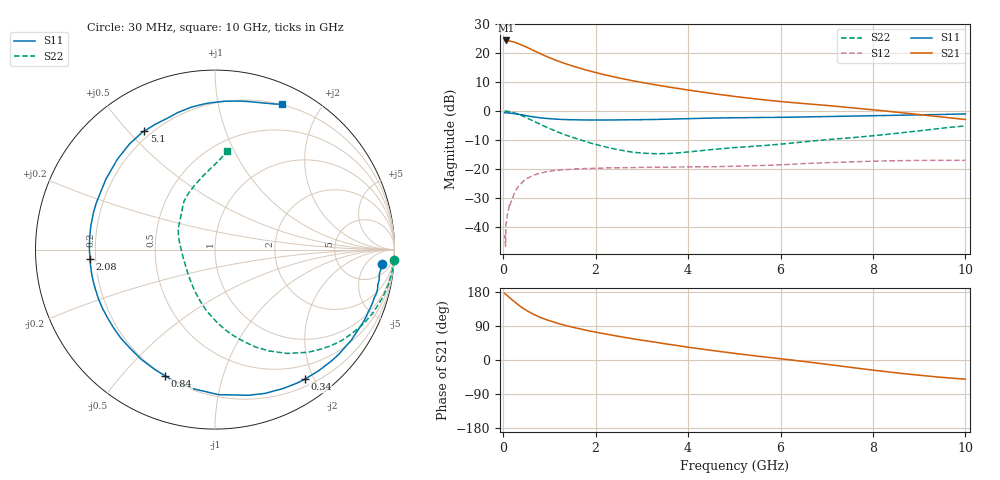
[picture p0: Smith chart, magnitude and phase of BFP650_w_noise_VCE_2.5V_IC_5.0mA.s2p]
! Infineon Technologies  Discrete & RF Semiconductors
! BFP650
! VCE =  2.5 V,  IC =  5.0 mA
! Common Emitter S-Parameters:  Jan 2016
# GHz  S  MA  R  50
!  f  S11  S21  S12  S22
! GHz  MAG  ANG  MAG  ANG  MAG  ANG  MAG  ANG
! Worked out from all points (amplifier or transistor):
!   229 points, 30 MHz to 10 GHz, reference 50 ohm
!   highest |S21| = 24.4 dB at 60 MHz (marker M1)
!   |S21| within 3 dB of that: start of sweep to 594.3 MHz
!   unconditionally stable (mu >= 1): 4.147 GHz to end of sweep
!   at 280 MHz: K = 0.06, MSG = 25.4 dB, |S12| = -27.2 dB
!   at 1.78 GHz: K = 0.50, MSG = 17.1 dB, |S12| = -19.9 dB
!   at 10 GHz: K = 1.09, MAG = 5.2 dB, |S12| = -17.1 dB
!   lowest NFmin = 0.58 dB at 450 MHz
!   S11 on the Smith chart (normalised r, x): 30 MHz: 11, -14; 340 MHz: 0.30, -1.87; 840 MHz: 0.20, -0.66; 2.08 GHz: 0.18, -0.04; 5.1 GHz: 0.17, +0.56; 10 GHz: 0.20, +1.55
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0.03  0.9351 -4.9  16.48 176.2  0.0064 91.4  0.998 -3.3
0.05  0.9253 -8.5  16.5 173.6  0.0046 80.1  0.9898 -5.6
0.06  0.9304 -10.3  16.62 173.1  0.0112 87.3  0.9963 -6.5
0.11  0.9265 -18.8  16.46 167.5  0.0185 79.2  0.983 -12.1
0.2  0.9117 -33.6  15.85 158.0  0.0307 71.7  0.9501 -21.4
0.26  0.8987 -43.3  15.35 151.9  0.0408 67.6  0.9195 -27.4
0.34  0.8783 -55.4  14.52 144.3  0.0508 61.2  0.8735 -34.9
0.4  0.8622 -63.8  13.88 138.9  0.057 57.2  0.8353 -40.1
0.5  0.8333 -76.9  12.78 130.9  0.0671 50.4  0.7691 -48.1
0.7  0.7844 -99.0  10.73 117.7  0.08 40.1  0.644 -61.5
0.84  0.7564 -111.5  9.518 110.6  0.0857 34.8  0.5693 -69.1
1  0.7367 -123.9  8.371 103.4  0.0909 29.8  0.4994 -76.8
1.2  0.7203 -136.7  7.249 96.0  0.0952 24.3  0.4279 -85.4
1.42  0.7083 -148.6  6.299 88.9  0.0978 20.0  0.3674 -93.8
1.7  0.7019 -161.4  5.377 81.1  0.1006 15.8  0.3103 -103.6
2.08  0.6985 -175.7  4.468 71.7  0.1027 11.7  0.2546 -116.5
2.64  0.7047 167.7  3.541 59.4  0.1049 6.5  0.2039 -136.9
3.4  0.7186 149.4  2.747 44.8  0.1069 1.9  0.1829 -166.3
5.1  0.7686 120.8  1.751 16.1  0.1113 -4.6  0.2359 149.8
6.8  0.7981 101.8  1.287 -8.3  0.126 -10.4  0.3089 124.8
8.4  0.8387 80.6  0.977 -32.4  0.1377 -20.6  0.4026 101.7
10  0.8912 65.2  0.714 -50.6  0.1404 -29.5  0.5538 83.2
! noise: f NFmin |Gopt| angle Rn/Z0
0.45  0.58  0.3  34  0.16
0.9  0.6  0.29  65  0.15
1.9  0.87  0.34  137  0.07
2.4  1.01  0.35  156  0.07
3.5  1.44  0.3  -144  0.31
